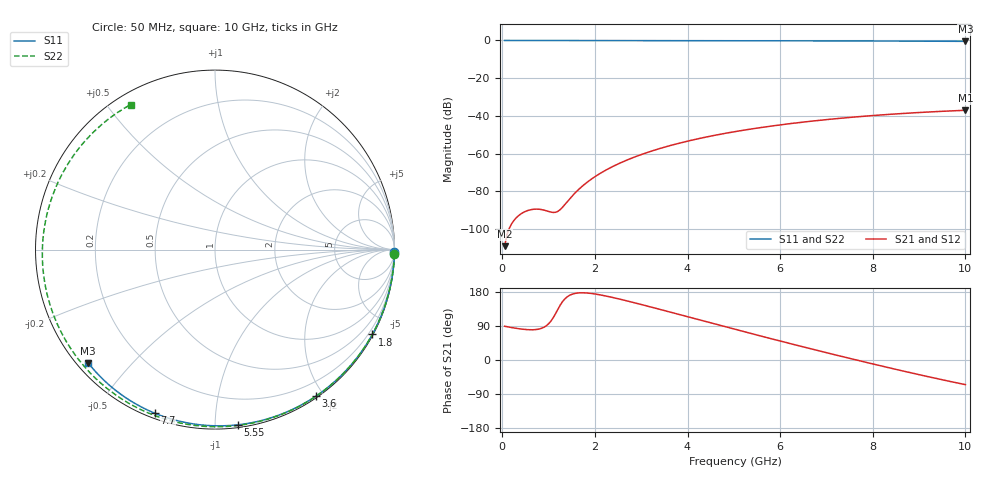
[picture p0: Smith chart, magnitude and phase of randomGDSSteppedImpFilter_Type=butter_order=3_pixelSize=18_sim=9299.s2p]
! freq	dB(S11)	phase(S11)	dB(S12)	phase(S12)
!  dB(S21)	phase(S21)	dB(S22)	phase(S22)
!S-par simulation data
#  GHz  S  DB  R 50
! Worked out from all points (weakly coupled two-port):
!   200 points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, 50 MHz to 10 GHz, reference 50 ohm
!   highest |S21| = -37.04 dB at 10 GHz (marker M1); lowest = -109.1 dB at 50 MHz (marker M2)
!   lowest |S11| = -0.5 dB at 10 GHz (marker M3), VSWR 37.00, Z = 1.55 - j19.1 ohm
!   |S11| at or under -10 dB: nowhere
!   |S22| runs from -0.6 to 0.0 dB; largest |S21 - S12| = 0
!   S11 on the Smith chart (normalised r, x): 50 MHz: open; 1.8 GHz: 0.03, -3.96; 3.6 GHz: 0.02, -1.91; 5.55 GHz: 0.02, -1.14; 7.7 GHz: 0.02, -0.70; 10 GHz: 0.03, -0.38
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0.05  -0.00 -0.8  -109.12 89.0  -109.12 89.0  -0.00 -1.5
0.4  -0.01 -6.4  -92.02 81.8  -92.02 81.8  -0.02 -12.0
0.8  -0.02 -12.7  -89.54 81.9  -89.54 81.9  -0.03 -23.8
1.2  -0.02 -19.0  -90.66 133.8  -90.66 133.8  -0.04 -35.4
1.6  -0.03 -25.2  -80.18 176.4  -80.18 176.4  -0.06 -46.8
1.75  -0.04 -27.6  -76.83 177.3  -76.83 177.3  -0.06 -51.0
1.8  -0.04 -28.3  -75.83 177.0  -75.83 177.0  -0.07 -52.4
2.1  -0.04 -33.0  -70.71 172.2  -70.71 172.2  -0.08 -60.6
2.45  -0.05 -38.3  -66.09 163.1  -66.09 163.1  -0.09 -69.9
2.9  -0.06 -45.0  -61.43 149.6  -61.43 149.6  -0.10 -81.6
3.4  -0.07 -52.4  -57.33 133.7  -57.33 133.7  -0.12 -94.0
3.6  -0.07 -55.4  -55.93 127.2  -55.93 127.2  -0.12 -98.9
4.3  -0.09 -65.4  -51.76 104.4  -51.76 104.4  -0.15 -115.2
5.05  -0.12 -75.8  -48.25 80.2  -48.25 80.2  -0.19 -131.9
5.55  -0.14 -82.6  -46.32 64.2  -46.32 64.2  -0.21 -142.7
6.15  -0.16 -90.5  -44.32 45.4  -44.32 45.4  -0.25 -155.4
6.7  -0.19 -97.7  -42.75 28.4  -42.75 28.4  -0.29 -166.9
7.2  -0.22 -104.0  -41.51 13.3  -41.51 13.3  -0.33 -177.4
7.7  -0.25 -110.3  -40.42 -1.6  -40.42 -1.6  -0.37 172.1
8.35  -0.30 -118.3  -39.21 -20.5  -39.21 -20.5  -0.43 158.1
9.15  -0.38 -128.0  -38.01 -42.8  -38.01 -42.8  -0.50 140.2
10  -0.47 -138.2  -37.04 -65.0  -37.04 -65.0  -0.59 120.2
